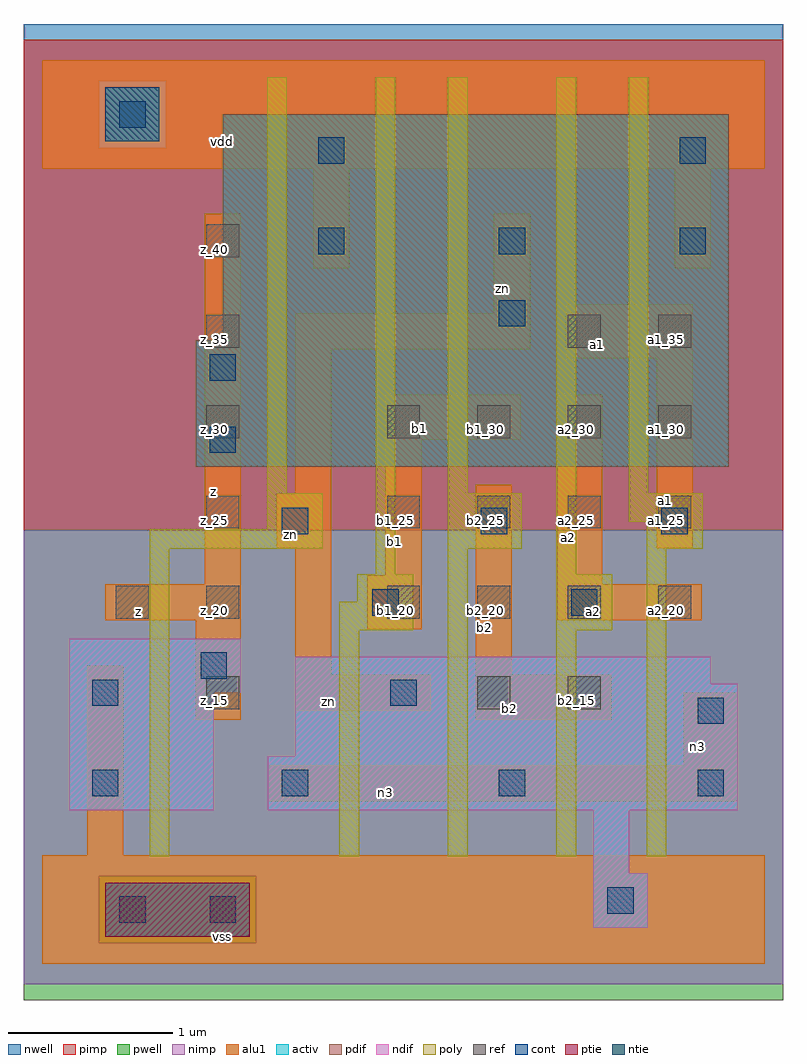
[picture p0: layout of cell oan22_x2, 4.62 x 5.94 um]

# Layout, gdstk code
import gdstk
lib = gdstk.Library(unit=1e-6, precision=2.5e-09)
def R(c, l, rs):  # rectangles x0, y0, x1, y1
    for r in rs: c.add(gdstk.rectangle(r[:2], r[2:], *l))
def A(c, l, x, y, w, h, nx, ny, dx, dy):  # array of equal rectangles
    R(c, l, [(x+i*dx, y+j*dy, x+i*dx+w, y+j*dy+h) for i in range(nx) for j in range(ny)])
ndif = (3, 0)
pdif = (4, 0)
ntie = (5, 0)
ptie = (6, 0)
ref = (24, 0)
cont = (25, 0)
pwell = (41, 0)
nwell = (42, 0)
activ = (43, 0)
pimp = (44, 0)
nimp = (45, 0)
poly = (46, 0)
alu1 = (49, 0)

oan22_x2 = lib.new_cell('oan22_x2')
R(oan22_x2, ndif, [(3.355,0.22,3.685,0.55), (3.355,0.55,3.575,0.935), (0.165,0.935,1.045,1.65), (1.375,0.935,4.235,1.265), (1.54,1.265,4.235,1.705), (0.165,1.65,1.21,1.98), (1.54,1.705,4.07,1.87)])
R(oan22_x2, pdif, [(0.935,3.025,4.18,3.795), (1.1,3.795,4.18,5.17)])
R(oan22_x2, ntie, [(0.385,5.005,0.715,5.335)])
R(oan22_x2, ptie, [(0.385,0.165,1.265,0.495)])
A(oan22_x2, ref, 1, 1.55, 0.2, 0.2, 1, 6, 0, 0.55)
A(oan22_x2, ref, 2.1, 2.1, 0.2, 0.2, 4, 3, 0.55, 0.55)
R(oan22_x2, ref, [(2.65,1.55,2.85,1.75), (3.2,1.55,3.4,1.75), (0.45,2.1,0.65,2.3), (3.2,3.75,3.4,3.95), (3.75,3.75,3.95,3.95)])
A(oan22_x2, cont, 1.68, 4.32, 0.16, 0.16, 3, 1, 1.1, 0)
R(oan22_x2, cont, [(0.47,0.25,0.63,0.41), (1.02,0.25,1.18,0.41), (3.44,0.305,3.6,0.465), (0.305,1.02,0.465,1.18), (1.46,1.02,1.62,1.18), (2.78,1.02,2.94,1.18), (3.99,1.02,4.15,1.18), (3.99,1.46,4.15,1.62), (0.305,1.57,0.465,1.73), (2.12,1.57,2.28,1.73), (0.965,1.735,1.125,1.895), (2.01,2.12,2.17,2.28), (3.22,2.12,3.38,2.28), (1.46,2.615,1.62,2.775), (2.67,2.615,2.83,2.775), (3.77,2.615,3.93,2.775), (1.02,3.11,1.18,3.27), (1.02,3.55,1.18,3.71), (2.78,3.88,2.94,4.04), (1.68,4.87,1.84,5.03), (3.88,4.87,4.04,5.03), (0.47,5.09,0.63,5.25)])
R(oan22_x2, pwell, [(-0.11,-0.22,4.51,2.64)])
R(oan22_x2, nwell, [(-0.11,2.64,4.51,5.72)])
R(oan22_x2, activ, [(0.385,0.165,1.265,0.495), (3.355,0.22,3.685,0.55), (3.355,0.55,3.575,0.935), (0.165,0.935,1.045,1.65), (1.375,0.935,4.235,1.265), (1.54,1.265,4.235,1.705), (0.165,1.65,1.21,1.98), (1.54,1.705,4.07,1.87), (0.935,3.025,4.18,3.795), (1.1,3.795,4.18,5.17), (0.385,5.005,0.715,5.335)])
R(oan22_x2, pimp, [(0.345,0.125,1.305,0.535), (-0.11,2.64,4.51,4.965), (-0.11,4.965,0.345,5.375), (0.755,4.965,4.51,5.375), (-0.11,5.375,4.51,5.625)])
R(oan22_x2, nimp, [(-0.11,-0.125,4.51,0.125), (-0.11,0.125,0.345,0.535), (1.305,0.125,4.51,0.535), (-0.11,0.535,4.51,2.64), (0.345,4.965,0.755,5.375)])
A(oan22_x2, poly, 1.37, 2.865, 0.12, 2.53, 3, 1, 1.1, 0)
R(oan22_x2, poly, [(0.655,0.655,0.775,2.525), (1.81,0.655,1.93,2.03), (2.47,0.655,2.59,2.525), (3.13,0.655,3.25,2.03), (3.68,0.655,3.8,2.525), (1.81,2.03,2.26,2.205), (3.13,2.03,3.47,2.37), (1.92,2.205,2.26,2.37), (2.03,2.37,2.15,5.395), (3.13,2.37,3.25,5.395), (0.655,2.525,1.71,2.645), (2.47,2.525,2.92,2.865), (3.68,2.525,4.02,2.69), (1.37,2.645,1.71,2.865), (3.57,2.69,4.02,2.865)])
R(oan22_x2, alu1, [(0,0,4.4,0.66), (0.275,0.66,0.495,1.815), (1.375,0.99,4.235,1.21), (3.905,1.21,4.235,1.65), (0.935,1.485,1.21,2.09), (2.64,1.485,3.465,1.76), (1.54,1.54,2.365,1.76), (1.54,1.76,1.76,2.53), (2.64,1.76,2.86,2.915), (1.98,2.035,2.31,2.365), (0.385,2.09,1.21,2.31), (3.135,2.09,4.015,2.31), (0.99,2.31,1.21,4.565), (3.135,2.31,3.41,3.465), (2.09,2.365,2.31,3.19), (1.43,2.53,1.76,2.86), (3.74,2.53,3.96,3.685), (1.54,2.86,1.76,3.74), (2.09,3.19,2.915,3.465), (3.19,3.685,3.96,4.015), (1.54,3.74,2.97,3.96), (2.75,3.96,2.97,4.565), (1.65,4.235,1.87,4.84), (3.85,4.235,4.07,4.84), (0,4.84,4.4,5.5)])
oan22_x2.add(gdstk.Label('vss', (1.1,0.165), layer=49, texttype=0))
oan22_x2.add(gdstk.Label('n3', (2.09,1.045), layer=49, texttype=0))
oan22_x2.add(gdstk.Label('n3', (3.9875,1.32), layer=49, texttype=0))
oan22_x2.add(gdstk.Label('b2', (2.845,1.5525), layer=49, texttype=0))
oan22_x2.add(gdstk.Label('zn', (1.745,1.595), layer=49, texttype=0))
oan22_x2.add(gdstk.Label('a2', (3.355,2.145), layer=49, texttype=0))
oan22_x2.add(gdstk.Label('a1', (3.795,2.8175), layer=49, texttype=0))
oan22_x2.add(gdstk.Label('a2', (3.2025,2.5975), layer=49, texttype=0))
oan22_x2.add(gdstk.Label('b2', (2.695,2.0475), layer=49, texttype=0))
oan22_x2.add(gdstk.Label('b1', (2.145,2.57), layer=49, texttype=0))
oan22_x2.add(gdstk.Label('b1', (2.295,3.2575), layer=49, texttype=0))
oan22_x2.add(gdstk.Label('z', (0.59,2.145), layer=49, texttype=0))
oan22_x2.add(gdstk.Label('zn', (1.5125,2.6125), layer=49, texttype=0))
oan22_x2.add(gdstk.Label('a1', (3.3825,3.7675), layer=49, texttype=0))
oan22_x2.add(gdstk.Label('zn', (2.805,4.11), layer=49, texttype=0))
oan22_x2.add(gdstk.Label('z', (1.045,2.8725), layer=49, texttype=0))
oan22_x2.add(gdstk.Label('vdd', (1.1,5.005), layer=49, texttype=0))
oan22_x2.add(gdstk.Label('z_40', (1.05,4.35), layer=24, texttype=0))
oan22_x2.add(gdstk.Label('b1_25', (2.15,2.7), layer=24, texttype=0))
oan22_x2.add(gdstk.Label('b1_20', (2.15,2.15), layer=24, texttype=0))
oan22_x2.add(gdstk.Label('a1_35', (3.8,3.8), layer=24, texttype=0))
oan22_x2.add(gdstk.Label('a2_20', (3.8,2.15), layer=24, texttype=0))
oan22_x2.add(gdstk.Label('b2_15', (2.7,1.6), layer=24, texttype=0))
oan22_x2.add(gdstk.Label('a1_30', (3.8,3.25), layer=24, texttype=0))
oan22_x2.add(gdstk.Label('a1_25', (3.8,2.7), layer=24, texttype=0))
oan22_x2.add(gdstk.Label('a2_25', (3.25,2.7), layer=24, texttype=0))
oan22_x2.add(gdstk.Label('a2_20', (3.25,2.15), layer=24, texttype=0))
oan22_x2.add(gdstk.Label('b2_25', (2.7,2.7), layer=24, texttype=0))
oan22_x2.add(gdstk.Label('b2_20', (2.7,2.15), layer=24, texttype=0))
oan22_x2.add(gdstk.Label('b2_15', (3.25,1.6), layer=24, texttype=0))
oan22_x2.add(gdstk.Label('b1_30', (2.15,3.25), layer=24, texttype=0))
oan22_x2.add(gdstk.Label('a2_30', (3.25,3.25), layer=24, texttype=0))
oan22_x2.add(gdstk.Label('a1_35', (3.25,3.8), layer=24, texttype=0))
oan22_x2.add(gdstk.Label('b1_30', (2.7,3.25), layer=24, texttype=0))
oan22_x2.add(gdstk.Label('z_35', (1.05,3.8), layer=24, texttype=0))
oan22_x2.add(gdstk.Label('z_30', (1.05,3.25), layer=24, texttype=0))
oan22_x2.add(gdstk.Label('z_25', (1.05,2.7), layer=24, texttype=0))
oan22_x2.add(gdstk.Label('z_20', (1.05,2.15), layer=24, texttype=0))
oan22_x2.add(gdstk.Label('z_15', (1.05,1.6), layer=24, texttype=0))
oan22_x2.add(gdstk.Label('z_20', (0.5,2.15), layer=24, texttype=0))

lib.write_gds('oan22_x2.gds')
